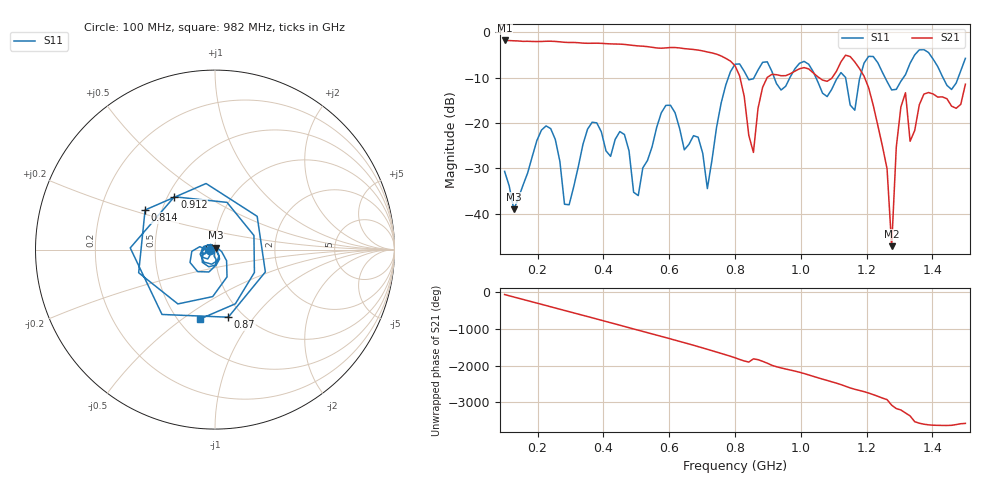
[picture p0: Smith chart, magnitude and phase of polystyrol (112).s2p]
! NanoVNA-App
! Date: 2025-09-25 15:30:46
! Start: 100MHz Stop: 1,5GHz Points: 101
! S-Parameter data: F S11 S21 S12 S22
# Hz S RI R 50
!  Frequency  S11_Real  S11_Imag  S21_Real  S21_Imag  S12_Real  S12_Imag  S22_Real  S22_Imag
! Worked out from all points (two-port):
!   101 points, 100 MHz to 1.5 GHz, reference 50 ohm
!   highest |S21| = -1.80 dB at 100 MHz (marker M1); lowest = -47.2 dB at 1.276 GHz (marker M2)
!   |S21| within 3 dB of the highest: start of sweep to 742.8 MHz
!   lowest |S11| = -39.1 dB at 128 MHz (marker M3), VSWR 1.02, Z = 50.3 + j1.06 ohm
!   |S11| at or under -10 dB: start of sweep to 779.8 MHz; 1.046 GHz to 1.112 GHz (65.97 MHz wide, 6.11 % of centre); 1.256 GHz to 1.312 GHz (55.69 MHz wide, 4.34 % of centre) (the widest 3 of 7)
!   S12 and S22 are empty: the file has one direction only
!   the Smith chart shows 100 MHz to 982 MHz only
!   S11 on the Smith chart (normalised r, x): 100 MHz: 0.94, -0.01; 814 MHz: 0.40, +0.22; 870 MHz: 0.85, -0.75; 912 MHz: 0.54, +0.37; 982 MHz: 0.64, -0.58
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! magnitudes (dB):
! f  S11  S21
! 100 MHz  -30.7  -1.8
! 128 MHz  -39.1  -1.9
! 212 MHz  -21.6  -2.0
! 282 MHz  -38.0  -2.2
! 338 MHz  -24.7  -2.4
! 464 MHz  -22.6  -2.7
! 506 MHz  -36.0  -3.0
! 576 MHz  -17.8  -3.5
! 716 MHz  -34.5  -4.3
! 800 MHz  -7.0  -7.4
! 814 MHz  -7.0  -9.6
! 856 MHz  -10.3  -26.5
! 870 MHz  -8.3  -16.8
! 912 MHz  -8.6  -9.3
! 982 MHz  -8.1  -8.6
! 1.038 GHz  -8.7  -9.0
! 1.192 GHz  -6.8  -9.7
! 1.262 GHz  -10.9  -30.1
! 1.276 GHz  -12.7  -47.2
! 1.318 GHz  -9.3  -13.3
! 1.332 GHz  -6.8  -24.0
! 1.5 GHz  -5.8  -11.5
